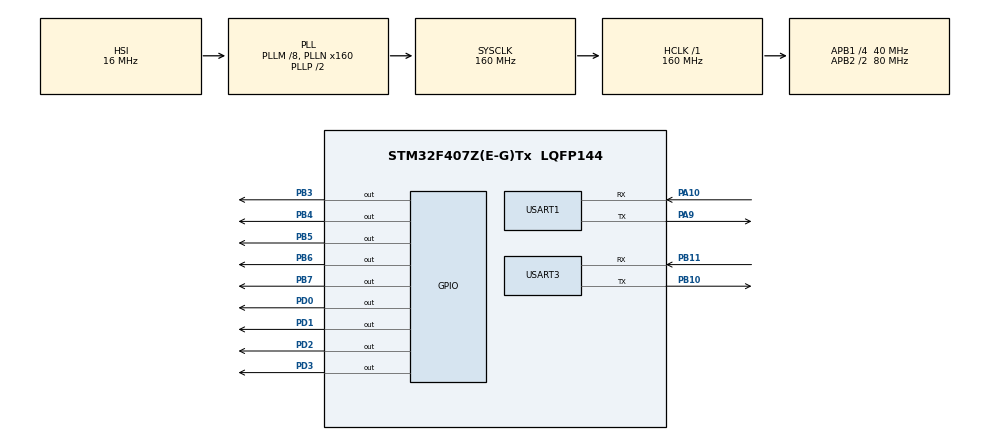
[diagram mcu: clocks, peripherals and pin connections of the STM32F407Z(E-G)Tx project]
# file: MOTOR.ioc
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Mcu.Family=STM32F4
Mcu.Name=STM32F407Z(E-G)Tx
Mcu.Package=LQFP144
NVIC.PriorityGroup=NVIC_PRIORITYGROUP_4
PA10.Mode=Asynchronous
PA10.Signal=USART1_RX
PA9.Mode=Asynchronous
PA9.Signal=USART1_TX
PB10.Mode=Asynchronous
PB10.Signal=USART3_TX
PB11.Mode=Asynchronous
PB11.Signal=USART3_RX
PB3.GPIO_ModeDefaultOutputPP=GPIO_MODE_OUTPUT_PP
PB3.GPIO_PuPd=GPIO_PULLUP
PB3.GPIO_Speed=GPIO_SPEED_FREQ_HIGH
PB3.PinState=GPIO_PIN_SET
PB3.Signal=GPIO_Output
PB4.GPIO_ModeDefaultOutputPP=GPIO_MODE_OUTPUT_PP
PB4.GPIO_PuPd=GPIO_PULLUP
PB4.GPIO_Speed=GPIO_SPEED_FREQ_HIGH
PB4.PinState=GPIO_PIN_SET
PB4.Signal=GPIO_Output
PB5.GPIO_ModeDefaultOutputPP=GPIO_MODE_OUTPUT_PP
PB5.GPIO_PuPd=GPIO_PULLUP
PB5.GPIO_Speed=GPIO_SPEED_FREQ_HIGH
PB5.PinState=GPIO_PIN_SET
PB5.Signal=GPIO_Output
PB6.GPIO_ModeDefaultOutputPP=GPIO_MODE_OUTPUT_PP
PB6.GPIO_PuPd=GPIO_PULLUP
PB6.GPIO_Speed=GPIO_SPEED_FREQ_HIGH
PB6.PinState=GPIO_PIN_SET
PB6.Signal=GPIO_Output
PB7.GPIO_ModeDefaultOutputPP=GPIO_MODE_OUTPUT_PP
PB7.GPIO_PuPd=GPIO_PULLUP
PB7.GPIO_Speed=GPIO_SPEED_FREQ_HIGH
PB7.PinState=GPIO_PIN_SET
PB7.Signal=GPIO_Output
PD0.GPIO_ModeDefaultOutputPP=GPIO_MODE_OUTPUT_PP
PD0.GPIO_PuPd=GPIO_PULLUP
PD0.GPIO_Speed=GPIO_SPEED_FREQ_HIGH
PD0.PinState=GPIO_PIN_SET
PD0.Signal=GPIO_Output
PD1.GPIO_ModeDefaultOutputPP=GPIO_MODE_OUTPUT_PP
PD1.GPIO_PuPd=GPIO_PULLUP
PD1.GPIO_Speed=GPIO_SPEED_FREQ_HIGH
PD1.PinState=GPIO_PIN_SET
PD1.Signal=GPIO_Output
PD2.GPIO_ModeDefaultOutputPP=GPIO_MODE_OUTPUT_PP
PD2.GPIO_PuPd=GPIO_PULLUP
PD2.GPIO_Speed=GPIO_SPEED_FREQ_HIGH
PD2.PinState=GPIO_PIN_SET
PD2.Signal=GPIO_Output
PD3.GPIO_ModeDefaultOutputPP=GPIO_MODE_OUTPUT_PP
PD3.GPIO_PuPd=GPIO_PULLUP
PD3.GPIO_Speed=GPIO_SPEED_FREQ_HIGH
PD3.PinState=GPIO_PIN_SET
PD3.Signal=GPIO_Output
PH0-OSC_IN.Mode=HSE-External-Oscillator
PH0-OSC_IN.Signal=RCC_OSC_IN
PH1-OSC_OUT.Mode=HSE-External-Oscillator
PH1-OSC_OUT.Signal=RCC_OSC_OUT
ProjectManager.HeapSize=0x200
ProjectManager.StackSize=0x400
ProjectManager.TargetToolchain=MDK-ARM V5.32
RCC.48MHZClocksFreq_Value=80000000
RCC.AHBFreq_Value=160000000
RCC.APB1CLKDivider=RCC_HCLK_DIV4
RCC.APB1Freq_Value=40000000
RCC.APB1TimFreq_Value=80000000
RCC.APB2CLKDivider=RCC_HCLK_DIV2
RCC.APB2Freq_Value=80000000
RCC.APB2TimFreq_Value=160000000
RCC.CortexFreq_Value=160000000
RCC.HCLKFreq_Value=160000000
RCC.HSE_VALUE=25000000
RCC.HSI_VALUE=16000000
RCC.LSE_VALUE=32768
RCC.PLLM=8
RCC.PLLN=160
RCC.SYSCLKFreq_VALUE=160000000
RCC.SYSCLKSource=RCC_SYSCLKSOURCE_PLLCLK
RCC.VCOOutputFreq_Value=320000000
USART1.VirtualMode=VM_ASYNC
USART3.VirtualMode=VM_ASYNC
board=custom

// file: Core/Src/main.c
/* USER CODE BEGIN Header */
/**
  ******************************************************************************
  * @file           : main.c
  * @brief          : Main program body
  ******************************************************************************
  * @attention
  *
  * Copyright (c) 2026 STMicroelectronics.
  * All rights reserved.
  *
  * This software is licensed under terms that can be found in the LICENSE file
  * in the root directory of this software component.
  * If no LICENSE file comes with this software, it is provided AS-IS.
  *
  ******************************************************************************
  */
/* USER CODE END Header */
#include "main.h"
#include "usart.h"
#include "gpio.h"

/* USER CODE BEGIN Includes */
#include <stdbool.h>
/* USER CODE END Includes */

/* USER CODE BEGIN PTD */
	#define SHARED_EN_PORT  GPIOB
	#define SHARED_EN_PIN   GPIO_PIN_3

	/* Motor Instance Descriptor */
	typedef struct {
			GPIO_TypeDef* port;
			uint16_t pin_pul;
			uint16_t pin_dir;
			volatile bool is_busy;
	} MotorInst_t;

	/* Hardware Mapping Table */
	static MotorInst_t motors[4] = {
			{GPIOB, GPIO_PIN_4, GPIO_PIN_5, false}, /* MOTOR 1 */
			{GPIOB, GPIO_PIN_6, GPIO_PIN_7, false}, /* MOTOR 2 */
			{GPIOD, GPIO_PIN_0, GPIO_PIN_1, false}, /* MOTOR 3 */
			{GPIOD, GPIO_PIN_2, GPIO_PIN_3, false}  /* MOTOR 4 */
	};

	/* 160MHz Delay Calibration: 1us � 32 loop iterations */
	#define DELAY_US_COEFF  32U

/* USER CODE END PTD */

void SystemClock_Config(void);

/* USER CODE BEGIN 0 */
/**
  ******************************************************************************
  * @file           : main.c
  * @brief          : HBT42C 4-Axis Closed-Loop Stepper Motor Control
  * @wiring_info    :
  *                   MOTOR1: PU -> PB4,  DR -> PB5
  *                   MOTOR2: PU -> PB6,  DR -> PB7
  *                   MOTOR3: PU -> PD0,  DR -> PD1
  *                   MOTOR4: PU -> PD2,  DR -> PD3
  *                   SHARED ENA -> PB3   (Controls all 4 motors simultaneously)
  *                   All PU-/DR-/EN- pins -> MCU GND (Common-Cathode wiring)
  *                   DIP Switch SW1~SW4: ON/ON/ON/ON (400 Pulse/Rev)
  ******************************************************************************
  */

/**
 * @brief  Microsecond delay (calibrated for 160MHz system clock)
 * @param  nus: Delay duration in microseconds
 */
__STATIC_INLINE void delay_us(uint32_t nus)
{
    __IO uint32_t cycles = nus * DELAY_US_COEFF;
    while(cycles--);
}

/**
 * @brief  Global enable control for all 4 motors (Active-High per manual)
 */
__STATIC_INLINE void motor_global_enable(bool en)
{
    HAL_GPIO_WritePin(SHARED_EN_PORT, SHARED_EN_PIN,
                      en ? GPIO_PIN_SET : GPIO_PIN_RESET);
}

/**
 * @brief  Set rotation direction for a specific motor
 */
__STATIC_INLINE void set_motor_dir(MotorInst_t* m, bool cw)
{
    HAL_GPIO_WritePin(m->port, m->pin_dir,
                      cw ? GPIO_PIN_SET : GPIO_PIN_RESET);
}

/**
 * @brief  Output a single pulse with timing-compliant width
 */
__STATIC_INLINE void pulse_out(MotorInst_t* m, uint32_t half_us)
{
    /* Enforce t3/t4 >= 1.5us requirement from HBT42C manual */
    if(half_us < 2U) half_us = 2U;

    HAL_GPIO_WritePin(m->port, m->pin_pul, GPIO_PIN_SET);
    delay_us(half_us);
    HAL_GPIO_WritePin(m->port, m->pin_pul, GPIO_PIN_RESET);
    delay_us(half_us);
}

/**
 * @brief  Run specified motor for exactly 1 revolution (400 pulses)
 * @param  id: Motor index (0~3)
 * @param  cw: Direction (true=CW, false=CCW)
 * @note   Fixed parameters: 400 steps/rev, 60 RPM target, trapezoidal profile
 */
void motor_run(uint8_t id, bool cw)
{
    if(id >= 4U) return;
    MotorInst_t* m = &motors[id];
    m->is_busy = true;

    /* Fixed operational parameters */
    const uint32_t total_steps  = 400U;      /* 1 Revolution */
    const uint32_t start_freq   = 500U;      /* Safe startup frequency */
    const uint32_t target_freq  = 4000U;     /* 60 RPM @ 400 steps/rev */
    const uint32_t accel_steps  = 150U;      /* Accelerate first 150 steps */
    const uint32_t dec_start    = 250U;      /* Decelerate last 150 steps */

    /* Step 1: Enable drivers (t1: ENA high >=5us before DIR change) */
    motor_global_enable(true);
    delay_us(10U);

    /* Step 2: Set direction (t2: DIR stable >=1us before PUL) */
    set_motor_dir(m, cw);
    delay_us(5U);

    /* Step 3: Pulse generation with trapezoidal speed profile */
    uint32_t current_freq = start_freq;
    for(uint32_t step = 0; step < total_steps; step++)
    {
        /* Calculate half-period in microseconds */
        uint32_t half_period = 500000U / current_freq;
        pulse_out(m, half_period);

        /* Acceleration phase */
        if(step < accel_steps && current_freq < target_freq)
        {
            current_freq += (target_freq - start_freq) / accel_steps;
            if(current_freq > target_freq) current_freq = target_freq;
        }
        /* Deceleration phase */
        else if(step >= dec_start && current_freq > start_freq)
        {
            current_freq -= (target_freq - start_freq) / (total_steps - dec_start);
            if(current_freq < start_freq) current_freq = start_freq;
        }
    }

    m->is_busy = false;
}

/* USER CODE END 0 */

int main(void)
{

  /* MCU Configuration--------------------------------------------------------*/

  /* Reset of all peripherals, Initializes the Flash interface and the Systick. */
  HAL_Init();

  /* Configure the system clock */
  SystemClock_Config();

  /* Initialize all configured peripherals */
  MX_GPIO_Init();
  MX_USART1_UART_Init();
  MX_USART3_UART_Init();
  /* USER CODE BEGIN 2 */
	motor_global_enable(true);
  /* USER CODE END 2 */

  /* Infinite loop */
  while (1)
  {

    /* USER CODE BEGIN 3 */
		motor_run(0, true);  HAL_Delay(500);
    motor_run(1, false); HAL_Delay(500);
    motor_run(2, true);  HAL_Delay(500);
    motor_run(3, false); HAL_Delay(500);
  /* USER CODE END 3 */
}

void SystemClock_Config(void)
{
  RCC_OscInitTypeDef RCC_OscInitStruct = {0};
  RCC_ClkInitTypeDef RCC_ClkInitStruct = {0};

  /** Configure the main internal regulator output voltage
  */
  __HAL_RCC_PWR_CLK_ENABLE();
  __HAL_PWR_VOLTAGESCALING_CONFIG(PWR_REGULATOR_VOLTAGE_SCALE1);

  /** Initializes the RCC Oscillators according to the specified parameters
  * in the RCC_OscInitTypeDef structure.
  */
  RCC_OscInitStruct.OscillatorType = RCC_OSCILLATORTYPE_HSI;
  RCC_OscInitStruct.HSIState = RCC_HSI_ON;
  RCC_OscInitStruct.HSICalibrationValue = RCC_HSICALIBRATION_DEFAULT;
  RCC_OscInitStruct.PLL.PLLState = RCC_PLL_ON;
  RCC_OscInitStruct.PLL.PLLSource = RCC_PLLSOURCE_HSI;
  RCC_OscInitStruct.PLL.PLLM = 8;
  RCC_OscInitStruct.PLL.PLLN = 160;
  RCC_OscInitStruct.PLL.PLLP = RCC_PLLP_DIV2;
  RCC_OscInitStruct.PLL.PLLQ = 4;
  if (HAL_RCC_OscConfig(&RCC_OscInitStruct) != HAL_OK)
  {
    Error_Handler();
  }

  /** Initializes the CPU, AHB and APB buses clocks
  */
  RCC_ClkInitStruct.ClockType = RCC_CLOCKTYPE_HCLK|RCC_CLOCKTYPE_SYSCLK
                              |RCC_CLOCKTYPE_PCLK1|RCC_CLOCKTYPE_PCLK2;
  RCC_ClkInitStruct.SYSCLKSource = RCC_SYSCLKSOURCE_PLLCLK;
  RCC_ClkInitStruct.AHBCLKDivider = RCC_SYSCLK_DIV1;
  RCC_ClkInitStruct.APB1CLKDivider = RCC_HCLK_DIV4;
  RCC_ClkInitStruct.APB2CLKDivider = RCC_HCLK_DIV2;

  if (HAL_RCC_ClockConfig(&RCC_ClkInitStruct, FLASH_LATENCY_5) != HAL_OK)
  {
    Error_Handler();
  }
}

void Error_Handler(void)
{
  __disable_irq();
  while (1)
  {
  }
}
